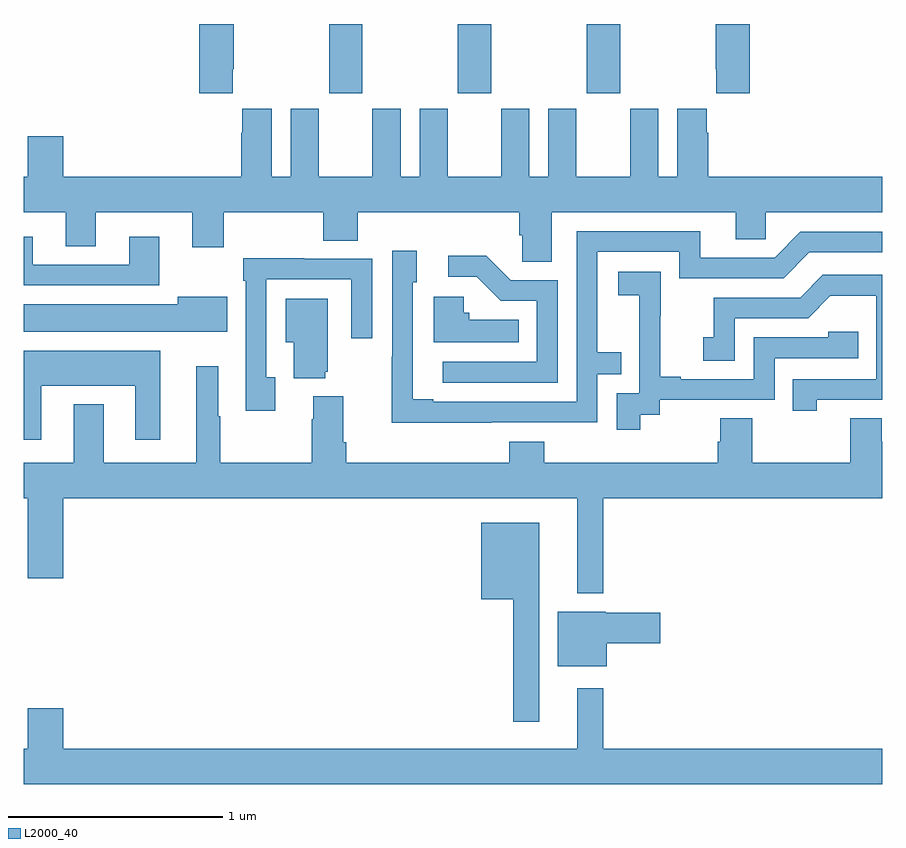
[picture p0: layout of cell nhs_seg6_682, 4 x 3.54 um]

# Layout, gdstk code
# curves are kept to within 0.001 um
import gdstk
lib = gdstk.Library(unit=1e-6, precision=1e-09)
def R(c, l, rs):  # rectangles x0, y0, x1, y1
    for r in rs: c.add(gdstk.rectangle(r[:2], r[2:], *l))
def A(c, l, x, y, w, h, nx, ny, dx, dy):  # array of equal rectangles
    R(c, l, [(x+i*dx, y+j*dy, x+i*dx+w, y+j*dy+h) for i in range(nx) for j in range(ny)])
def P(c, l, *ps):  # polygons
    for p in ps: c.add(gdstk.Polygon(p, *l))
L2000_40 = (2000, 40)

nhs_seg6_682 = lib.new_cell('nhs_seg6_682')
A(nhs_seg6_682, L2000_40, 154.423, 993.177, 0.155, 0.323, 3, 1, 0.6, 0)
P(nhs_seg6_682, L2000_40, [(156.383,993.5),(156.223,993.5),(156.223,993.289),(156.227,993.289),(156.227,993.177),(156.383,993.177)],
  [(153.973,993.289),(153.978,993.289),(153.978,993.5),(153.818,993.5),(153.818,993.177),(153.973,993.177)],
  [(155.461,992.624),(156.317,992.624),(156.317,992.497),(156.456,992.497),(156.456,992.624),(157,992.624),(157,992.788),(156.188,992.788),(156.188,992.993),(156.181,992.993),(156.181,993.106),(156.044,993.106),(156.044,992.788),(155.956,992.788),(155.956,993.106),(155.825,993.106),(155.825,992.788),(155.575,992.788),(155.575,993.106),(155.444,993.106),(155.444,992.788),(155.356,992.788),(155.356,993.106),(155.225,993.106),(155.225,992.788),(154.975,992.788),(154.975,993.106),(154.844,993.106),(154.844,992.788),(154.756,992.788),(154.756,993.106),(154.625,993.106),(154.625,992.788),(154.375,992.788),(154.375,993.106),(154.244,993.106),(154.244,992.788),(154.156,992.788),(154.156,993.106),(154.019,993.106),(154.019,992.993),(154.013,992.993),(154.013,992.788),(153.184,992.788),(153.184,992.977),(153.02,992.977),(153.02,992.788),(153,992.788),(153,992.624),(153.197,992.624),(153.197,992.464),(153.337,992.464),(153.337,992.624),(153.785,992.624),(153.785,992.46),(153.933,992.46),(153.933,992.624),(154.396,992.624),(154.396,992.491),(154.556,992.491),(154.556,992.624),(155.309,992.624),(155.309,992.515),(155.322,992.515),(155.322,992.392),(155.461,992.392)],
  [(155.177,991.644),(155.673,991.644),(155.673,991.869),(155.783,991.869),(155.783,991.97),(155.673,991.97),(155.673,992.439),(156.054,992.439),(156.054,992.316),(156.54,992.316),(156.66,992.436),(157,992.436),(157,992.532),(156.618,992.532),(156.498,992.412),(156.151,992.412),(156.151,992.535),(155.577,992.535),(155.577,991.74),(154.909,991.74),(154.909,991.753),(154.812,991.753),(154.812,992.298),(154.831,992.298),(154.831,992.443),(154.716,992.443),(154.716,991.949),(154.714,991.949),(154.714,991.643)],
  [(153.631,992.509),(153.491,992.509),(153.491,992.379),(153.043,992.379),(153.043,992.509),(153,992.509),(153,992.283),(153.631,992.283)],
  [(155.487,992.307),(155.268,992.307),(155.155,992.42),(154.977,992.42),(154.977,992.322),(155.111,992.322),(155.222,992.211),(155.391,992.211),(155.391,991.926),(154.953,991.926),(154.953,991.83),(155.487,991.83)],
  [(154.171,991.854),(154.131,991.854),(154.131,992.31),(154.527,992.31),(154.527,992.037),(154.623,992.037),(154.623,992.406),(154.307,992.406),(154.307,992.408),(154.023,992.408),(154.023,992.303),(154.035,992.303),(154.035,991.698),(154.171,991.698)],
  [(155.872,991.681),(155.964,991.681),(155.964,991.749),(156.498,991.749),(156.498,991.944),(156.887,991.944),(156.887,992.067),(156.747,992.067),(156.747,992.04),(156.402,992.04),(156.402,991.845),(156.061,991.845),(156.061,991.858),(155.966,991.858),(155.966,992.141),(155.967,992.141),(155.967,992.347),(155.769,992.347),(155.769,992.237),(155.867,992.237),(155.867,992.009),(155.868,992.009),(155.868,991.779),(155.763,991.779),(155.763,991.611),(155.872,991.611)],
  [(156.694,991.749),(157,991.749),(157,992.331),(156.722,992.331),(156.617,992.226),(156.214,992.226),(156.214,992.041),(156.165,992.041),(156.165,991.932),(156.312,991.932),(156.312,992.13),(156.654,992.13),(156.758,992.234),(156.972,992.234),(156.972,991.845),(156.583,991.845),(156.583,991.698),(156.694,991.698)],
  [(155.306,992.122),(155.076,992.122),(155.076,992.154),(155.049,992.154),(155.049,992.23),(154.91,992.23),(154.91,992.018),(155.306,992.018)],
  [(153.949,992.23),(153.719,992.23),(153.719,992.194),(153,992.194),(153,992.066),(153.949,992.066)],
  [(154.406,991.881),(154.417,991.881),(154.417,992.221),(154.22,992.221),(154.22,992.018),(154.259,992.018),(154.259,991.85),(154.406,991.85)],
  [(153.082,991.814),(153.521,991.814),(153.521,991.563),(153.637,991.563),(153.637,991.978),(153,991.978),(153,991.563),(153.082,991.563)],
  [(155.701,991.292),(157,991.292),(157,991.554),(156.997,991.554),(156.997,991.664),(156.85,991.664),(156.85,991.456),(156.393,991.456),(156.393,991.664),(156.245,991.664),(156.245,991.554),(156.233,991.554),(156.233,991.456),(155.426,991.456),(155.426,991.555),(155.261,991.555),(155.261,991.456),(154.502,991.456),(154.502,991.552),(154.489,991.552),(154.489,991.765),(154.349,991.765),(154.349,991.658),(154.342,991.658),(154.342,991.456),(153.917,991.456),(153.917,991.673),(153.907,991.673),(153.907,991.906),(153.803,991.906),(153.803,991.456),(153.373,991.456),(153.373,991.729),(153.233,991.729),(153.233,991.456),(153,991.456),(153,991.292),(153.02,991.292),(153.02,990.918),(153.184,990.918),(153.184,991.292),(155.579,991.292),(155.579,990.848),(155.701,990.848)],
  [(155.401,991.177),(155.132,991.177),(155.132,990.821),(155.28,990.821),(155.28,990.249),(155.401,990.249)],
  [(155.716,990.616),(155.965,990.616),(155.965,990.758),(155.712,990.758),(155.712,990.763),(155.489,990.763),(155.489,990.509),(155.716,990.509)],
  [(157,990.124),(155.701,990.124),(155.701,990.406),(155.579,990.406),(155.579,990.124),(153.184,990.124),(153.184,990.313),(153.02,990.313),(153.02,990.124),(153,990.124),(153,989.96),(157,989.96)])

lib.write_gds('nhs_seg6_682.gds')
